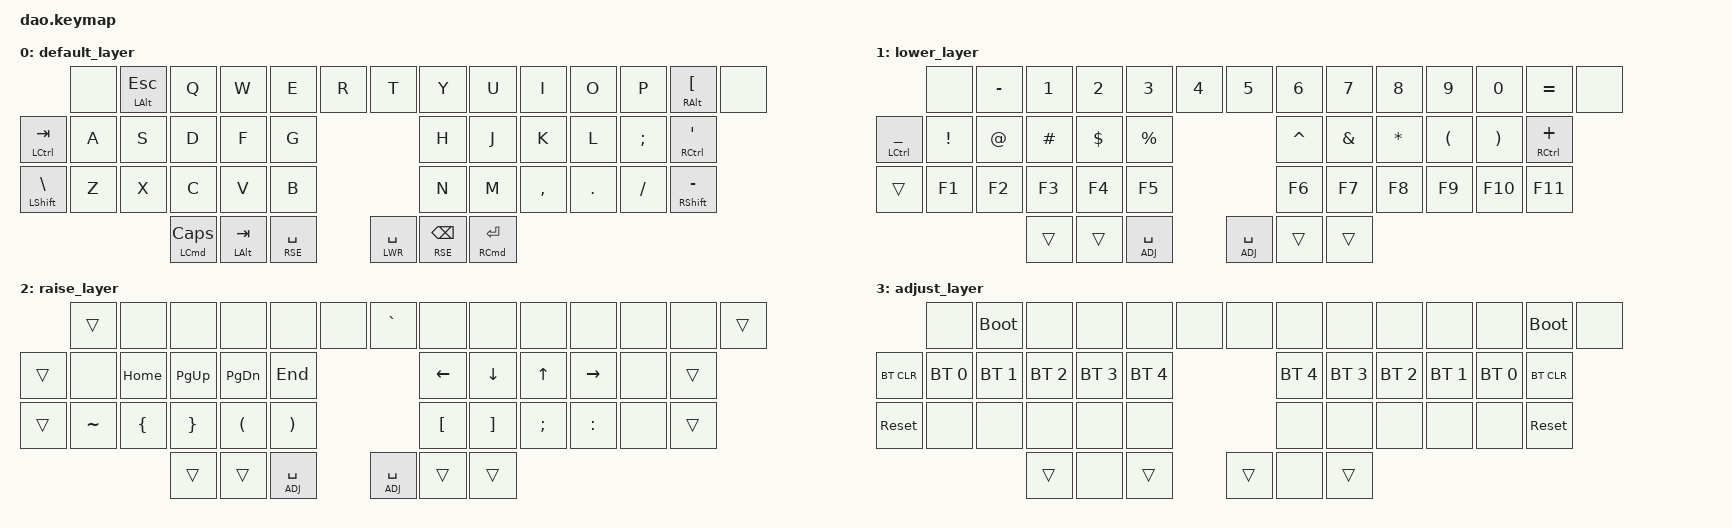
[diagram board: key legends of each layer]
/*
 * Copyright (c) 2021 Rafael Yumagulov
 *
 * SPDX-License-Identifier: MIT
 */

#include <behaviors.dtsi>
#include <dt-bindings/zmk/keys.h>
#include <dt-bindings/zmk/bt.h>

#define DEF 0
#define LWR 1
#define RSE 2
#define ADJ 3

&lt {
    quick_tap_ms = <200>;
};

&mt {
    quick_tap_ms = <200>;
};

/ {
    keymap {
        compatible = "zmk,keymap";

        default_layer {
            // -----------------------------------------------------------------------------------------
            // |  GUI |   ~  |  Q  |  W  |  E  |  R  |  T  |   |  Y  |  U   |  I  |  O  |  P  |  [   | GUI/] |
            //        | CTRL |  A  |  S  |  D  |  F  |  G  |   |  H  |  J   |  K  |  L  |  ;  |CTRL/'|
            //        | LALT |  Z  |  X  |  C  |  V  |  B  |   |  N  |  M   |  ,  |  .  |  /  | RALT |
            //                           | RSE | SPC | LWR |   | LWR | BKSP | RSE |

            bindings = <
          &none  &mt LALT ESC  &kp Q          &kp W         &kp E          &kp R  &kp T          &kp Y         &kp U            &kp I    &kp O     &kp P    &mt RALT LBKT  &none
  &mt LCTRL TAB         &kp A  &kp S          &kp D         &kp F          &kp G                 &kp H         &kp J            &kp K    &kp L  &kp SEMI    &mt RCTRL SQT
&mt LSHIFT BSLH         &kp Z  &kp X          &kp C         &kp V          &kp B                 &kp N         &kp M        &kp COMMA  &kp DOT  &kp FSLH  &mt RSHFT MINUS
                                      &mt LCMD CAPS  &mt LALT TAB  &lt RSE SPACE         &lt LWR SPACE  &lt RSE BSPC  &mt RCMD RETURN
            >;
        };

        lower_layer {
            // -----------------------------------------------------------------------------------------
            // |     |  _  |  F1 |  F2 |  F3 |  F4 |  F5 |   |  F6 |  F7 |  F8 |  F9 | F10 | F11 | F12 |
            //       |  +  |  !  |  @  |  #  |  $  |  %  |   |  ^  |  &  |  *  |  (  |  )  |  -  |
            //       |  =  |  1  |  2  |  3  |  4  |  5  |   |  6  |  7  |  8  |  9  |  0  |     |
            //                    | GUI |     | SPC |   | ENT |     | ALT |

            bindings = <
          &none  &kp MINUS  &kp N1    &kp N2    &kp N3         &kp N4  &kp N5         &kp N6    &kp N7    &kp N8    &kp N9    &kp N0       &kp EQUAL  &none
&mt LCTRL UNDER   &kp EXCL  &kp AT  &kp HASH  &kp DLLR      &kp PRCNT              &kp CARET  &kp AMPS  &kp STAR  &kp LPAR  &kp RPAR  &mt RCTRL PLUS
         &trans     &kp F1  &kp F2    &kp F3    &kp F4         &kp F5                 &kp F6    &kp F7    &kp F8    &kp F9   &kp F10         &kp F11
                                      &trans    &trans  &lt ADJ SPACE          &lt ADJ SPACE    &trans    &trans
            >;
        };

        raise_layer {
            // -----------------------------------------------------------------------------------------
            // |     | NMLK |  /  |  7  |  8  |  9  |  -  |   | VOLU| HOME| PRSC| PGUP| SCLK| CLCK|     |
            //       | CTRL |  *  |  4  |  5  |  6  |  +  |   | MUT | LEFT|  UP | RGHT| INS | APP |
            //       |      |  0  |  1  |  2  |  3  |  .  |   | VOLD| END | DOWN| PGDN| PAUS|     |
            //                          |     |     | ADJ |   | ADJ |     |     |

            bindings = <
&trans      &none     &none        &none          &none          &none  &kp GRAVE      &none      &none      &none      &none  &none   &none  &trans
&trans      &none  &kp HOME  &kp PAGE_UP  &kp PAGE_DOWN        &kp END              &kp LEFT   &kp DOWN     &kp UP  &kp RIGHT  &none  &trans
&trans  &kp TILDE  &kp LBRC     &kp RBRC       &kp LPAR       &kp RPAR              &kp LBKT   &kp RBKT   &kp SEMI  &kp COLON  &none  &trans
                                  &trans         &trans  &lt ADJ SPACE              &lt ADJ SPACE &trans &trans
            >;
        };

        adjust_layer {
            // -----------------------------------------------------------------------------------------
            // | RST | BLDR |     |     |     |     |     |   |     |     |     |     |     | BLDR | RST |
            //       | BTCLR| BT0 | BT1 | BT2 | BT3 | BT4 |   | BT4 | BT3 | BT2 | BT1 | BT0 | BTCLR|
            //       |      |     |     |     |     |     |   |     |     |     |     |     |      |
            //                          |     |     |     |   |     |     |     |

            bindings = <
     &none   &bootloader         &none         &none         &none         &none  &none         &none         &none         &none         &none         &none  &bootloader  &none
&bt BT_CLR  &bt BT_SEL 0  &bt BT_SEL 1  &bt BT_SEL 2  &bt BT_SEL 3  &bt BT_SEL 4         &bt BT_SEL 4  &bt BT_SEL 3  &bt BT_SEL 2  &bt BT_SEL 1  &bt BT_SEL 0   &bt BT_CLR
&sys_reset         &none         &none         &none         &none         &none                &none         &none         &none         &none         &none   &sys_reset
                                              &trans         &none        &trans               &trans         &none        &trans
            >;
        };
    };
};
